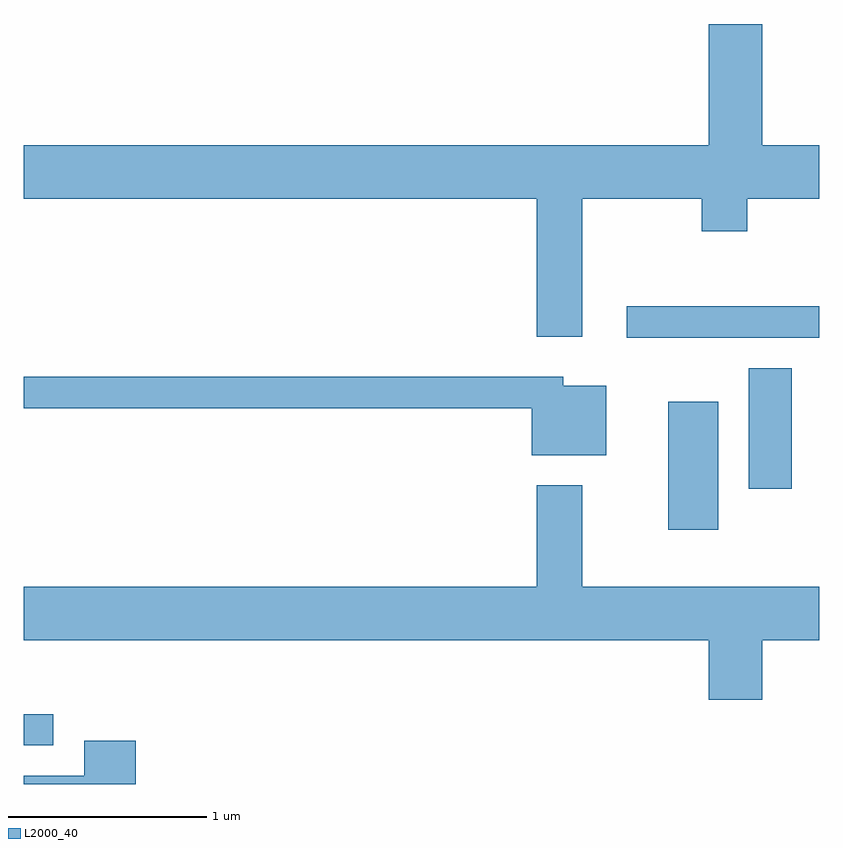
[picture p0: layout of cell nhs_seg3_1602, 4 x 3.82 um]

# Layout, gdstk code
import gdstk
lib = gdstk.Library(unit=1e-6, precision=1e-09)
def R(c, l, rs):  # rectangles x0, y0, x1, y1
    for r in rs: c.add(gdstk.rectangle(r[:2], r[2:], *l))
def P(c, l, *ps):  # polygons
    for p in ps: c.add(gdstk.Polygon(p, *l))
L2000_40 = (2000, 40)

nhs_seg3_1602 = lib.new_cell('nhs_seg3_1602')
R(nhs_seg3_1602, L2000_40, [(231.611,1192.086,231.758,1192.244), (234.851,1193.171,235.104,1193.814), (235.256,1193.376,235.474,1193.984), (234.643,1194.136,235.611,1194.294)])
P(nhs_seg3_1602, L2000_40, [(234.419,1194.836),(235.021,1194.836),(235.021,1194.671),(235.249,1194.671),(235.249,1194.836),(235.611,1194.836),(235.611,1195.104),(235.324,1195.104),(235.324,1195.714),(235.056,1195.714),(235.056,1195.104),(231.611,1195.104),(231.611,1194.836),(234.191,1194.836),(234.191,1194.141),(234.419,1194.141)],
  [(234.539,1193.894),(234.324,1193.894),(234.324,1193.939),(231.611,1193.939),(231.611,1193.781),(234.166,1193.781),(234.166,1193.546),(234.539,1193.546)],
  [(235.056,1192.316),(235.324,1192.316),(235.324,1192.616),(235.611,1192.616),(235.611,1192.884),(234.419,1192.884),(234.419,1193.394),(234.191,1193.394),(234.191,1192.884),(231.611,1192.884),(231.611,1192.616),(235.056,1192.616)],
  [(232.174,1192.109),(231.916,1192.109),(231.916,1191.934),(231.611,1191.934),(231.611,1191.892),(232.174,1191.892)])

lib.write_gds('nhs_seg3_1602.gds')
